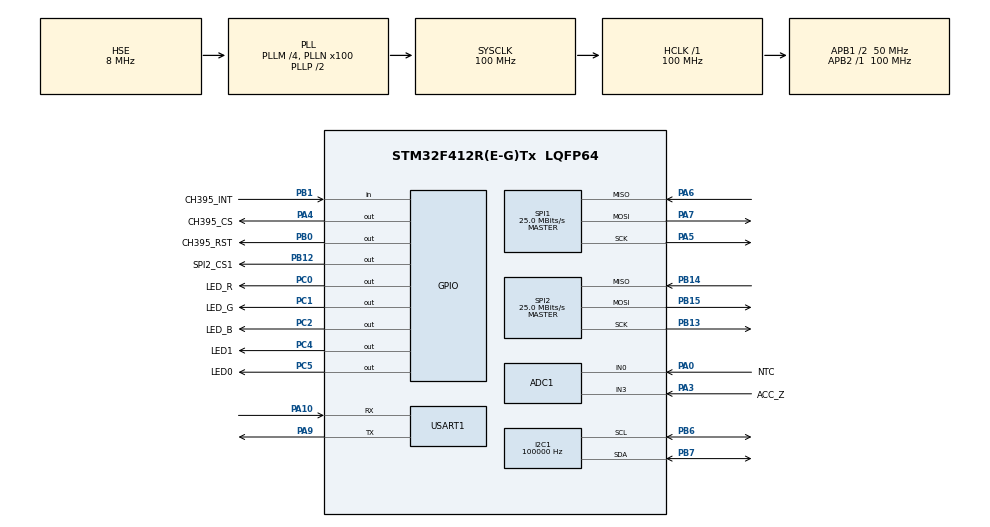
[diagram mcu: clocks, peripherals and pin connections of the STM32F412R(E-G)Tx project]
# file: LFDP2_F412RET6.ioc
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ADC1.Channel-0\#ChannelRegularConversion=ADC_CHANNEL_0
ADC1.Channel-1\#ChannelRegularConversion=ADC_CHANNEL_3
ADC1.ClockPrescaler=ADC_CLOCK_SYNC_PCLK_DIV8
ADC1.ContinuousConvMode=ENABLE
ADC1.DMAContinuousRequests=ENABLE
ADC1.EOCSelection=ADC_EOC_SEQ_CONV
ADC1.InjNumberOfConversion=0
ADC1.NbrOfConversion=2
ADC1.NbrOfConversionFlag=1
ADC1.Rank-0\#ChannelRegularConversion=1
ADC1.Rank-1\#ChannelRegularConversion=2
ADC1.SamplingTime-0\#ChannelRegularConversion=ADC_SAMPLETIME_480CYCLES
ADC1.SamplingTime-1\#ChannelRegularConversion=ADC_SAMPLETIME_480CYCLES
ADC1.ScanConvMode=ENABLE
ADC1.master=1
Dma.ADC1.2.Direction=DMA_PERIPH_TO_MEMORY
Dma.ADC1.2.FIFOMode=DMA_FIFOMODE_DISABLE
Dma.ADC1.2.Instance=DMA2_Stream0
Dma.ADC1.2.MemDataAlignment=DMA_MDATAALIGN_HALFWORD
Dma.ADC1.2.MemInc=DMA_MINC_ENABLE
Dma.ADC1.2.Mode=DMA_CIRCULAR
Dma.ADC1.2.PeriphDataAlignment=DMA_PDATAALIGN_HALFWORD
Dma.ADC1.2.PeriphInc=DMA_PINC_DISABLE
Dma.ADC1.2.Priority=DMA_PRIORITY_LOW
Dma.I2C1_RX.0.Direction=DMA_PERIPH_TO_MEMORY
Dma.I2C1_RX.0.FIFOMode=DMA_FIFOMODE_DISABLE
Dma.I2C1_RX.0.Instance=DMA1_Stream0
Dma.I2C1_RX.0.MemDataAlignment=DMA_MDATAALIGN_BYTE
Dma.I2C1_RX.0.MemInc=DMA_MINC_ENABLE
Dma.I2C1_RX.0.Mode=DMA_NORMAL
Dma.I2C1_RX.0.PeriphDataAlignment=DMA_PDATAALIGN_BYTE
Dma.I2C1_RX.0.PeriphInc=DMA_PINC_DISABLE
Dma.I2C1_RX.0.Priority=DMA_PRIORITY_VERY_HIGH
Dma.I2C1_TX.1.Direction=DMA_MEMORY_TO_PERIPH
Dma.I2C1_TX.1.FIFOMode=DMA_FIFOMODE_DISABLE
Dma.I2C1_TX.1.Instance=DMA1_Stream1
Dma.I2C1_TX.1.MemDataAlignment=DMA_MDATAALIGN_BYTE
Dma.I2C1_TX.1.MemInc=DMA_MINC_ENABLE
Dma.I2C1_TX.1.Mode=DMA_NORMAL
Dma.I2C1_TX.1.PeriphDataAlignment=DMA_PDATAALIGN_BYTE
Dma.I2C1_TX.1.PeriphInc=DMA_PINC_DISABLE
Dma.I2C1_TX.1.Priority=DMA_PRIORITY_VERY_HIGH
Dma.Request0=I2C1_RX
Dma.Request1=I2C1_TX
Dma.Request2=ADC1
I2C1.ClockSpeed=100000
I2C1.I2C_Mode=I2C_Fast
IWDG.Prescaler=IWDG_PRESCALER_64
Mcu.Family=STM32F4
Mcu.Name=STM32F412R(E-G)Tx
Mcu.Package=LQFP64
NVIC.DMA1_Stream0_IRQn=true\:0\:0\:false\:false\:true\:false\:true\:true
NVIC.DMA1_Stream1_IRQn=true\:0\:0\:false\:false\:true\:false\:true\:true
NVIC.DMA2_Stream0_IRQn=true\:0\:0\:true\:false\:true\:false\:true\:true
NVIC.PriorityGroup=NVIC_PRIORITYGROUP_4
NVIC.TIM6_IRQn=true\:1\:0\:true\:false\:true\:true\:true\:true
PA0.GPIO_Label=NTC
PA0.Signal=ADCx_IN0
PA10.Mode=Asynchronous
PA10.Signal=USART1_RX
PA13.Mode=Serial_Wire
PA13.Signal=SYS_JTMS-SWDIO
PA14.Mode=Serial_Wire
PA14.Signal=SYS_JTCK-SWCLK
PA3.GPIO_Label=ACC_Z
PA3.Signal=ADCx_IN3
PA4.GPIO_Label=CH395_CS
PA4.GPIO_Speed=GPIO_SPEED_FREQ_MEDIUM
PA4.Signal=GPIO_Output
PA5.Mode=Full_Duplex_Master
PA5.Signal=SPI1_SCK
PA6.Mode=Full_Duplex_Master
PA6.Signal=SPI1_MISO
PA7.Mode=Full_Duplex_Master
PA7.Signal=SPI1_MOSI
PA9.Mode=Asynchronous
PA9.Signal=USART1_TX
PB0.GPIO_Label=CH395_RST
PB0.GPIO_PuPd=GPIO_PULLUP
PB0.GPIO_Speed=GPIO_SPEED_FREQ_HIGH
PB0.Signal=GPIO_Output
PB1.GPIO_Label=CH395_INT
PB1.GPIO_PuPd=GPIO_PULLUP
PB1.Signal=GPIO_Input
PB12.GPIO_Label=SPI2_CS1
PB12.Signal=GPIO_Output
PB13.Mode=Full_Duplex_Master
PB13.Signal=SPI2_SCK
PB14.Mode=Full_Duplex_Master
PB14.Signal=SPI2_MISO
PB15.Mode=Full_Duplex_Master
PB15.Signal=SPI2_MOSI
PB6.Mode=I2C
PB6.Signal=I2C1_SCL
PB7.Mode=I2C
PB7.Signal=I2C1_SDA
PC0.GPIO_Label=LED_R
PC0.GPIO_PuPd=GPIO_NOPULL
PC0.PinState=GPIO_PIN_SET
PC0.Signal=GPIO_Output
PC1.GPIO_Label=LED_G
PC1.GPIO_PuPd=GPIO_NOPULL
PC1.PinState=GPIO_PIN_SET
PC1.Signal=GPIO_Output
PC2.GPIO_Label=LED_B
PC2.GPIO_PuPd=GPIO_NOPULL
PC2.PinState=GPIO_PIN_SET
PC2.Signal=GPIO_Output
PC4.GPIO_Label=LED1
PC4.PinState=GPIO_PIN_SET
PC4.Signal=GPIO_Output
PC5.GPIO_Label=LED0
PC5.PinState=GPIO_PIN_SET
PC5.Signal=GPIO_Output
PH0\ -\ OSC_IN.Mode=HSE-External-Oscillator
PH0\ -\ OSC_IN.Signal=RCC_OSC_IN
PH1\ -\ OSC_OUT.Mode=HSE-External-Oscillator
PH1\ -\ OSC_OUT.Signal=RCC_OSC_OUT
ProjectManager.HeapSize=0x200
ProjectManager.StackSize=0x400
ProjectManager.TargetToolchain=STM32CubeIDE
RCC.AHBFreq_Value=100000000
RCC.APB1CLKDivider=RCC_HCLK_DIV2
RCC.APB1Freq_Value=50000000
RCC.APB1TimFreq_Value=100000000
RCC.APB2Freq_Value=100000000
RCC.APB2TimFreq_Value=100000000
RCC.CortexFreq_Value=100000000
RCC.HCLKFreq_Value=100000000
RCC.HSE_VALUE=8000000
RCC.PLLM=4
RCC.PLLN=100
RCC.PLLSourceVirtual=RCC_PLLSOURCE_HSE
RCC.SYSCLKFreq_VALUE=100000000
RCC.SYSCLKSource=RCC_SYSCLKSOURCE_PLLCLK
RCC.USBFreq_Value=100000000
RCC.VCOOutputFreq_Value=200000000
SH.ADCx_IN0.0=ADC1_IN0,IN0
SH.ADCx_IN3.0=ADC1_IN3,IN3
SPI1.BaudRatePrescaler=SPI_BAUDRATEPRESCALER_4
SPI1.CLKPhase=SPI_PHASE_2EDGE
SPI1.CLKPolarity=SPI_POLARITY_HIGH
SPI1.CalculateBaudRate=25.0 MBits/s
SPI1.Direction=SPI_DIRECTION_2LINES
SPI1.Mode=SPI_MODE_MASTER
SPI1.VirtualType=VM_MASTER
SPI2.CLKPhase=SPI_PHASE_2EDGE
SPI2.CLKPolarity=SPI_POLARITY_HIGH
SPI2.CalculateBaudRate=25.0 MBits/s
SPI2.Direction=SPI_DIRECTION_2LINES
SPI2.Mode=SPI_MODE_MASTER
SPI2.VirtualType=VM_MASTER
TIM6.Period=100-1
TIM6.Prescaler=200-1
USART1.VirtualMode=VM_ASYNC
VP_IWDG_VS_IWDG.Mode=IWDG_Activate
VP_TIM6_VS_ClockSourceINT.Mode=Enable_Timer
board=custom

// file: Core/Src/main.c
/* USER CODE BEGIN Header */
/**
  ******************************************************************************
  * @file           : main.c
  * @brief          : Main program body
  ******************************************************************************
  * @attention
  *
  * Copyright (c) 2023 STMicroelectronics.
  * All rights reserved.
  *
  * This software is licensed under terms that can be found in the LICENSE file
  * in the root directory of this software component.
  * If no LICENSE file comes with this software, it is provided AS-IS.
  *
  ******************************************************************************
  */
/* USER CODE END Header */
#include "main.h"
#include "adc.h"
#include "dma.h"
#include "i2c.h"
#include "iwdg.h"
#include "spi.h"
#include "tim.h"
#include "usart.h"
#include "gpio.h"

/* USER CODE BEGIN Includes */

#include "stdio.h"
#include "string.h"
#include "lis2dh12.h"
#include "w25qxx.h"
#include "ch395.h"
#include "ntc.h"
#include "misc.h"

/* USER CODE END Includes */

/* USER CODE BEGIN PV */

#define erase_flag	0	// 用于测试，判断是否擦除flash的sn：0：烧录模式；1：擦除模式

uint8_t device_type;	// 用于标识设备类型：0：开发板；1：第二代传感器

uint16_t adc_buf[2];
float accz_g, ntc;
float Sen_1 = 0.026;
float com_value = 1.65;

uint8_t IIC_State = 0;
int8_t acc_all[6];
float accx_g, accy_g;
float Sen_3 = 0.032;

/* 本地网络信息：IP地址、网关地址、子网掩码和MAC地址 */
uint8_t ch395_ipaddr[4]     = {192,168,2,205};
uint8_t ch395_gw_ipaddr[4]  = {192,168,2,1};
uint8_t ch395_ipmask[4]     = {255,255,255,0};
uint8_t ch395_macaddr[6]    = {0xA5,0xB5,0xC5,0x00,0x00,0x00};

/* 远程IP地址设置 */
//uint8_t ch395_des_ipaddr[4] = {116,57,98,230};	// alphamini ip
//uint16_t ch395_des_port = 8888;					// alphamini port
//uint8_t ch395_des_ipaddr[4] = {81,71,132,174};		// piremote ip
//uint16_t ch395_des_port = 14494;					// piremote port
//uint8_t ch395_des_ipaddr[4] = {116,57,98,20};		// wgx ip
//uint16_t ch395_des_port = 8080;						// wgx port
//uint8_t ch395_des_ipaddr[4] = {192,168,10,101};		// schoolpi ip
//uint16_t ch395_des_port = 1234;						// schoolpi port
uint8_t ch395_des_ipaddr[4] = {192,168,2,161};	// notebook ip
uint16_t ch395_des_port = 8080;					// notebook port

static uint8_t socket0_send_buf[7000];
static uint8_t socket0_recv_buf[1024];
ch395_socket cha95_sockct_sta[8];

uint16_t data_frequency = 5000;
uint8_t adc_switch = 1;
uint8_t iic_switch = 1;
uint16_t acc_num = 0;
int16_t pre_accx = 0;
int16_t pre_accy = 0;
int16_t adc_accz_buf_1[1000] = {0};
int16_t adc_accz_buf_2[1000] = {0};
int16_t iic_accx_buf_1[1000] = {0};
int16_t iic_accx_buf_2[1000] = {0};
int16_t iic_accy_buf_1[1000] = {0};
int16_t iic_accy_buf_2[1000] = {0};
char DFH[7] = "dd0101";		// 数据帧头（Data frame header）
char DFF[4] = "end";		// 数据帧尾（Data frame footer）
uint8_t rtim[17];
uint32_t rtime_head_8;
uint32_t rtime_foot_8;

uint8_t ch395_udp_ip[4] = {255,255,255,255};	/* 设置为 UDP 全网段广播地址 */
uint8_t ch395_tcp_ip[4];					/* 设置为 TCP 固定目标地址 */

// 序列号sn烧录相关变量
uint32_t flash_size = 16 * 1024 * 1024;
uint8_t ch395_sn[15] = {"VSX00000000000"};
uint8_t none_sn[15] = {"NNNNNNNNNNNNNN"};
uint8_t socket0_send_buf_udp_sn[] = {"sensor is requesting sn"};				/* UDP 广播消息（序列号） */
uint8_t socket0_send_buf_success_sn[] = {"sn successfully initialized"};		/* 序列号成功接收反馈 */\
uint8_t sn_flag;		// 用于标志Flash固定地址有无sn
uint8_t work_mode;		// 序列号烧录当前的工作模式和阶段

/* USER CODE END PV */

void SystemClock_Config(void);
/* USER CODE BEGIN PFP */

// 用于串口 1 输出传感器当前的运行阶段
void uart1_show_mesg(uint8_t stage)
{
	switch(stage)
	{
		case 0:
			/* 目前处于 UDP 广播阶段（序列号） */
			printf("\n");
			printf("********************************\r\n");
			printf("UDP BroadCast for SN\r\n");
			printf("********************************\r\n");
			printf("\r\n");
			break;
		case 1:
			/* 目前处于 TCP 客户端阶段（序列号上位机） */
			printf("\n");
			printf("********************************\r\n");
			printf("TCP Client for SN\r\n");
			printf("********************************\r\n");
			printf("\r\n");
			break;
		case 2:
			/* 目前处于传感器 TCP 工作阶段 */
			printf("\n");
			printf("********************************\r\n");
			printf("Working Mode MQTT\r\n");
			printf("********************************\r\n");
			printf("\r\n");
			break;
		default:
			break;
	}
}

// 配置为 UDP 客户端全网段广播模式
void ch395_udp_broadcast()
{
	ch395_hardware_init();	/* ch395初始化 */

	do {
		if(device_type == 0) HAL_IWDG_Refresh(&hiwdg);	// 当设备是开发板时，此处需要喂狗，因为开发板由于未知原因，DHCP异常缓慢，容易导致看门狗复位
		ch395q_handler();
    } while (g_ch395q_sta.dhcp_status == DHCP_STA);                                                                       /* 获取DHCP */

    cha95_sockct_sta[0].socket_enable = CH395Q_ENABLE;                                                                  /* 使能socket对 */
    cha95_sockct_sta[0].socket_index = CH395Q_SOCKET_0;                                                                 /* 设置socket对 */
    memcpy(cha95_sockct_sta[0].des_ip, ch395_udp_ip, sizeof(cha95_sockct_sta[0].des_ip));                               /* 设置目标IP地址 */
    memcpy(cha95_sockct_sta[0].net_config.ipaddr, ch395_ipaddr, sizeof(cha95_sockct_sta[0].net_config.ipaddr));         /* 设置静态本地IP地址 */
    memcpy(cha95_sockct_sta[0].net_config.gwipaddr, ch395_gw_ipaddr, sizeof(cha95_sockct_sta[0].net_config.gwipaddr));  /* 设置静态网关IP地址 */
    memcpy(cha95_sockct_sta[0].net_config.maskaddr, ch395_ipmask, sizeof(cha95_sockct_sta[0].net_config.maskaddr));     /* 设置静态子网掩码地址 */
    memcpy(cha95_sockct_sta[0].net_config.macaddr, ch395_macaddr, sizeof(cha95_sockct_sta[0].net_config.macaddr));      /* 设置静态MAC地址 */
    cha95_sockct_sta[0].des_port = 8888;                                                                                /* 目标端口 */
    cha95_sockct_sta[0].sour_port = 8888;                                                                               /* 源端口 */
    cha95_sockct_sta[0].proto = CH395Q_SOCKET_UDP;                                                                      /* 设置协议 */
    cha95_sockct_sta[0].send.buf = socket0_send_buf;                                                                    /* 发送数据 */
    cha95_sockct_sta[0].send.size = sizeof(socket0_send_buf);                                                           /* 发送数据大小 */
    cha95_sockct_sta[0].recv.buf =  socket0_recv_buf;                                                                   /* 接收数据缓冲区 */
    cha95_sockct_sta[0].recv.size = sizeof(socket0_recv_buf);                                                           /* 接收数据大小 */
    ch395q_socket_config(&cha95_sockct_sta[0]);                                                                         /* 配置socket参数 */
}

// 配置为 TCP 客户端烧录模式
void ch395_tcp_client()
{
	ch395_hardware_init();	/* ch395初始化 */

	do {
		if(device_type == 0) HAL_IWDG_Refresh(&hiwdg);	// 当设备是开发板时，此处需要喂狗，因为开发板由于未知原因，DHCP异常缓慢，容易导致看门狗复位
        ch395q_handler();
    } while (g_ch395q_sta.dhcp_status == DHCP_STA);                                                                       /* 获取DHCP */

    cha95_sockct_sta[0].socket_enable = CH395Q_ENABLE;                                                                  /* 使能socket对 */
    cha95_sockct_sta[0].socket_index = CH395Q_SOCKET_0;                                                                 /* 设置socket对 */
    memcpy(cha95_sockct_sta[0].des_ip, ch395_tcp_ip, sizeof(cha95_sockct_sta[0].des_ip));                               /* 设置目标IP地址 */
    memcpy(cha95_sockct_sta[0].net_config.ipaddr, ch395_ipaddr, sizeof(cha95_sockct_sta[0].net_config.ipaddr));         /* 设置静态本地IP地址 */
    memcpy(cha95_sockct_sta[0].net_config.gwipaddr, ch395_gw_ipaddr, sizeof(cha95_sockct_sta[0].net_config.gwipaddr));  /* 设置静态网关IP地址 */
    memcpy(cha95_sockct_sta[0].net_config.maskaddr, ch395_ipmask, sizeof(cha95_sockct_sta[0].net_config.maskaddr));     /* 设置静态子网掩码地址 */
    memcpy(cha95_sockct_sta[0].net_config.macaddr, ch395_macaddr, sizeof(cha95_sockct_sta[0].net_config.macaddr));      /* 设置静态MAC地址 */
    cha95_sockct_sta[0].des_port = 8899;                                                                                /* 目标端口 */
    cha95_sockct_sta[0].sour_port = 8899;                                                                               /* 源端口 */
    cha95_sockct_sta[0].proto = CH395Q_SOCKET_TCP_CLIENT;                                                               /* 设置协议 */
    cha95_sockct_sta[0].send.buf = socket0_send_buf;                                                                    /* 发送数据 */
    cha95_sockct_sta[0].send.size = sizeof(socket0_send_buf);                                                           /* 发送数据大小 */
    cha95_sockct_sta[0].recv.buf =  socket0_recv_buf;                                                                   /* 接收数据缓冲区 */
    cha95_sockct_sta[0].recv.size = sizeof(socket0_recv_buf);                                                           /* 接收数据大小 */
    ch395q_socket_config(&cha95_sockct_sta[0]);                                                                         /* 配置socket参数 */
}

// 配置为 TCP 客户端工作模式
void ch395_tcp_work()
{
	printf("ch395_des_ipaddr: %d.%d.%d.%d\r\n", ch395_des_ipaddr[0], ch395_des_ipaddr[1], ch395_des_ipaddr[2], ch395_des_ipaddr[3]);
	printf("ch395_des_port:   %d\r\n", ch395_des_port);

	ch395_hardware_init();
	do {
	  if(device_type == 0) HAL_IWDG_Refresh(&hiwdg);	// 当设备是开发板时，此处需要喂狗，因为开发板由于未知原因，DHCP异常缓慢，容易导致看门狗复位
	  ch395q_handler();
	} while(g_ch395q_sta.dhcp_status == DHCP_STA);                                                                       /* 获取DHCP */

	cha95_sockct_sta[0].socket_enable = CH395Q_ENABLE;                                                                  /* 使能socket对 */
	cha95_sockct_sta[0].socket_index = CH395Q_SOCKET_0;                                                                 /* 设置socket对 */
	memcpy(cha95_sockct_sta[0].des_ip, ch395_des_ipaddr, sizeof(cha95_sockct_sta[0].des_ip));                           /* 设置目标IP地址 */
	memcpy(cha95_sockct_sta[0].net_config.ipaddr, ch395_ipaddr, sizeof(cha95_sockct_sta[0].net_config.ipaddr));         /* 设置静态本地IP地址 */
	memcpy(cha95_sockct_sta[0].net_config.gwipaddr, ch395_gw_ipaddr, sizeof(cha95_sockct_sta[0].net_config.gwipaddr));  /* 设置静态网关IP地址 */
	memcpy(cha95_sockct_sta[0].net_config.maskaddr, ch395_ipmask, sizeof(cha95_sockct_sta[0].net_config.maskaddr));     /* 设置静态子网掩码地址 */
	memcpy(cha95_sockct_sta[0].net_config.macaddr, ch395_macaddr, sizeof(cha95_sockct_sta[0].net_config.macaddr));      /* 设置静态MAC地址 */
	cha95_sockct_sta[0].des_port = ch395_des_port;                                                                      /* 目标端口 */
	cha95_sockct_sta[0].sour_port = 8080;                                                                               /* 源端口 */
	cha95_sockct_sta[0].proto = CH395Q_SOCKET_TCP_CLIENT;                                                               /* 设置协议 */
	cha95_sockct_sta[0].send.buf = socket0_send_buf;                                                                    /* 发送数据 */
	cha95_sockct_sta[0].send.size = sizeof(socket0_send_buf);                                                           /* 发送数据大小 */
	cha95_sockct_sta[0].recv.buf =  socket0_recv_buf;                                                                   /* 接收数据缓冲区 */
	cha95_sockct_sta[0].recv.size = sizeof(socket0_recv_buf);                                                           /* 接收数据大小 */
	ch395q_socket_config(&cha95_sockct_sta[0]);                                                                         /* 配置socket参数 */

	if(g_ch395q_sta.dhcp_status == DHCP_DOWN) {
	  printf("ch395_ipaddr:     %d.%d.%d.%d\r\n", ch395_ipaddr[0], ch395_ipaddr[1], ch395_ipaddr[2], ch395_ipaddr[3]);
	  printf("ch395_gw_ipaddr:  %d.%d.%d.%d\r\n", ch395_gw_ipaddr[0], ch395_gw_ipaddr[1], ch395_gw_ipaddr[2], ch395_gw_ipaddr[3]);
	  printf("ch395_ipmask:     %d.%d.%d.%d\r\n", ch395_ipmask[0], ch395_ipmask[1], ch395_ipmask[2], ch395_ipmask[3]);
	  printf("ch395_macaddr:    %02x %02x %02x %02x %02x %02x\r\n", ch395_macaddr[0], ch395_macaddr[1], ch395_macaddr[2],
																   ch395_macaddr[3], ch395_macaddr[4], ch395_macaddr[5]);
	}
	printf("ch395_sn:         %s\r\n", ch395_sn);

	sprintf(socket0_send_buf, "request %s", ch395_sn);
	uint8_t *isFound;
	do {
	  printf("rtim requesting...\r\n");
	  ch395_send_data(0, (uint8_t *)socket0_send_buf, strlen((char *)socket0_send_buf));
	  HAL_Delay(1000);
	  ch395q_handler();
	  isFound = strstr(socket0_recv_buf, "rtim");
	} while(isFound == NULL);
	memcpy(rtim, isFound + 4, 16);
	printf("rtim:[%s]\r\n", rtim);
	sscanf(rtim, "%8d%8d", &rtime_head_8, &rtime_foot_8);
}

/* USER CODE END PFP */

/* USER CODE BEGIN 0 */

void HAL_TIM_PeriodElapsedCallback(TIM_HandleTypeDef *htim)
{
	if(htim == &htim6)
	{
		int16_t *dataptr_x;
		int16_t *dataptr_y;

		if(iic_switch == 1) {
			dataptr_x = iic_accx_buf_1;
			dataptr_y = iic_accy_buf_1;
		}
		else if(iic_switch == 2) {
			dataptr_x = iic_accx_buf_2;
			dataptr_y = iic_accy_buf_2;
		}
		if(IIC_State == 1) {
			*(dataptr_x + acc_num) = acc_all[1];
			*(dataptr_y + acc_num) = acc_all[3];

			pre_accx = acc_all[1];
			pre_accy = acc_all[3];

			IIC_State = 0;
			LIS2DH12_ReadAccall(&hi2c1, acc_all);
		}
		else {
			*(dataptr_x + acc_num) = pre_accx;
			*(dataptr_y + acc_num) = pre_accy;
		}

		int16_t *dataptr_z;

		if(adc_switch == 1) {
			dataptr_z = adc_accz_buf_1;
		}
		else if(adc_switch == 2) {
			dataptr_z = adc_accz_buf_2;
		}
		*(dataptr_z + acc_num) = adc_buf[1];

		acc_num++;
	}
}

/* USER CODE END 0 */

int main(void)
{

  /* MCU Configuration--------------------------------------------------------*/

  /* Reset of all peripherals, Initializes the Flash interface and the Systick. */
  HAL_Init();

  /* Configure the system clock */
  SystemClock_Config();

  /* Initialize all configured peripherals */
  MX_GPIO_Init();
  MX_DMA_Init();
  MX_USART1_UART_Init();
  MX_I2C1_Init();
  MX_SPI2_Init();
  MX_SPI1_Init();
  MX_ADC1_Init();
  MX_TIM6_Init();
  MX_IWDG_Init();
  /* USER CODE BEGIN 2 */

  // Flash Init
  W25QXX_Init();
  while(W25QXX_ReadID() != W25Q128 && W25QXX_ReadID() != W25Q64) {
	  printf("Flash Error!!\r\n");
	  HAL_GPIO_WritePin(LED0_GPIO_Port, LED0_Pin, GPIO_PIN_SET);
	  HAL_Delay(500);
	  HAL_GPIO_WritePin(LED0_GPIO_Port, LED0_Pin, GPIO_PIN_RESET);
	  HAL_Delay(500);
  }
  if(W25QXX_ReadID() == W25Q128) {
	  device_type = 1;
	  printf("This is Sensor2.0   device_type: 1\r\n");
  }
  else if(W25QXX_ReadID() == W25Q64) {
	  device_type = 0;
	  printf("This is Development board   device_type: 0\r\n");
  }

  // 使能spi1
  __HAL_SPI_ENABLE(&hspi1);
  spi1_read_write_byte(0Xff);		// 启动传输, 实际上就是产生8个时钟脉冲, 达到清空DR的作用, 非必需

  // ADC Init (ADXL1002 + NTC)
  HAL_ADC_Start_DMA(&hadc1, (uint32_t*)adc_buf, (uint32_t)2);

  // Lis2dh12 Init (IIC + DMA)
  LIS2DH12_ReadAcc_Init(&hi2c1);
  LIS2DH12_ReadAccall(&hi2c1, acc_all);
  HAL_Delay(10);

  // Sensor Correct
  if(device_type == 1) Com_Value_Init_DMA();	// 当设备是传感器时，需要进行单轴矫正

  // Erase mode
  while(erase_flag) {
	  W25QXX_Write(none_sn, 100, 14);
	  printf("sn erase mode!!\r\n");
	  HAL_Delay(1000);
  }

  // 判断序列号的Flash存储位置是否有内容
  W25QXX_Read(&sn_flag, 100, 1);
  if(sn_flag != 'V') {
	  uart1_show_mesg(0);
	  ch395_udp_broadcast();

	  // 发送 UDP 广播，直到收到上位机反馈的包含主机 IP 的消息
	  do {
		  ch395_send_data(0, (uint8_t *)socket0_send_buf_udp_sn, strlen((char *)socket0_send_buf_udp_sn));
		  HAL_Delay(100);
		  ch395q_handler();

		  HAL_Delay(1000);
		  for(int i = 0; i < 30; i++) {
			  printf("%d ", socket0_recv_buf[i]);
		  }
		  printf("\r\n");
		  for(int i = 0; i < 30; i++) {
			  printf("%c ", socket0_recv_buf[i]);
		  }
		  printf("\r\n");
		  printf("\r\n----------------------------\r\n\r\n");
	  } while(socket0_recv_buf[0] == 0);

	  // 从上位机反馈的消息中，取出主机 IP
	  for(uint8_t i = 0; i < 4; i++) {
		  ch395_tcp_ip[i] = socket0_recv_buf[i + 4];
	  }

	  uart1_show_mesg(1);
	  ch395_tcp_client();

	  work_mode = 1;
  }
  else {
	  W25QXX_Read(ch395_sn, 100, 14);
	  uart1_show_mesg(2);
	  ch395_tcp_work();

	  work_mode = 0;

	  // TIM6 Tnit
	  HAL_TIM_Base_Start_IT(&htim6);
	  HAL_Delay(10);
  }

  /* USER CODE END 2 */

  /* Infinite loop */
  /* USER CODE BEGIN WHILE */
  while (1)
  {
	  if(work_mode == 1) {
		  ch395q_handler();
		  HAL_Delay(100);

		  uint8_t *isFound;
		  isFound = strstr(socket0_recv_buf, "VS");
		  if(isFound != NULL) {
			  memcpy(ch395_sn, isFound, 14);
			  ch395_sn[14] = '\0';
			  W25QXX_Write(ch395_sn, 100, 14);
		  }

		  HAL_Delay(1000);
		  for(int i = 0; i < 14; i++) {
			  printf("%d ", socket0_recv_buf[i]);
		  }
		  printf("\r\n");
		  for(int i = 0; i < 14; i++) {
			  printf("%c ", socket0_recv_buf[i]);
		  }
		  printf("\r\n");
		  printf("sn:");
		  for(int i = 0; i < 14; i++) {
			  printf("%c", ch395_sn[i]);
		  }
		  printf("\r\n\r\n----------------------------\r\n\r\n");

		  static uint8_t num_sn = 1;
		  W25QXX_Read(&sn_flag, 100, 1);
		  if(sn_flag == 'V' && num_sn) {
			  ch395_send_data(0, (uint8_t *)socket0_send_buf_success_sn, strlen((char *)socket0_send_buf_success_sn));
			  num_sn = 0;
		  }

		  HAL_IWDG_Refresh(&hiwdg);
	  }
	  else if(work_mode == 0) {
		  static uint16_t cumulative_num = 0;
		  char *ptr = socket0_send_buf;
		  int16_t *dataptr_z;
		  int16_t *dataptr_x;
		  int16_t *dataptr_y;

		  uint8_t old_adc_switch = adc_switch;
		  uint8_t old_iic_switch = iic_switch;
		  uint16_t old_acc_num = acc_num;

		  (adc_switch == 1)?(adc_switch = 2):(adc_switch = 1);
		  (iic_switch == 1)?(iic_switch = 2):(iic_switch = 1);

		  acc_num = 0;

		  if(old_adc_switch == 1) { dataptr_z = &adc_accz_buf_1[0]; }
		  else if(old_adc_switch == 2) { dataptr_z = &adc_accz_buf_2[0]; }
		  if(old_iic_switch == 1) { dataptr_x = &iic_accx_buf_1[0]; dataptr_y = &iic_accy_buf_1[0]; }
		  else if(old_iic_switch == 2) { dataptr_x = &iic_accx_buf_2[0]; dataptr_y = &iic_accy_buf_2[0]; }

		  cumulative_num += old_acc_num;
		  printf("%d  %08d%08d\r\n", old_acc_num, rtime_head_8, rtime_foot_8);
		  static float test_x, test_y, test_z;
		  if(cumulative_num >= data_frequency) {
			  printf("\r\n");
			  printf(">>> frequency:[%d], cumulative_num:[%d], old_acc_num:[%d], ntc:[%05.1f], rtime:[%08d%08d], ",
						  data_frequency, cumulative_num, old_acc_num, ntc, rtime_head_8, rtime_foot_8);
			  printf("    accx:[%.4f], accy:[%.4f], accz:[%.4f]\r\n", test_x, test_y, test_z);
			  cumulative_num = 0;
			  printf("\r\n");
		  }

		  sprintf(ptr, "%s", DFH);

		  sprintf(ptr + 6, "{%08d%08d}", rtime_head_8, rtime_foot_8);
		  rtime_calculate(old_acc_num);

		  ntc = Get_Kelvin_Temperature(adc_buf[0]);
		  if(ntc > 999 || ntc < 0) ntc = 999.9;
		  sprintf(ptr + 6 + 18, "{%05.1f}", ntc);

		  sprintf(ptr + 6 + 18 + 7, "|");

		  for(uint16_t i = 0; i < old_acc_num; i++) {
			  float data_z = (*(dataptr_z + i) * (3.3 / 4096) - com_value) / Sen_1;
			  float data_x = *(dataptr_x + i) * Sen_3;
			  float data_y = *(dataptr_y + i) * Sen_3;
			  test_z = data_z;
			  test_x = data_x;
			  test_y = data_y;
			  if(device_type == 0) {data_z = 65.65; data_x = 66.66; data_y = 67.67;}	// 当设备是开发板时，需要生成伪数据进行发送
			  sprintf((ptr + 6 + 18 + 7 + 1 + i * 7), "%c%c%c%c%c%c|", int_separate(data_z), dec_separate(data_z),
																	   int_separate(data_x), dec_separate(data_x),
																	   int_separate(data_y), dec_separate(data_y));
		  }

		  sprintf(ptr + 6 + 18 + 7 + 1 + old_acc_num * 7, "%s", DFF);

		  sprintf(ptr + 6 + 18 + 7 + 1 + old_acc_num * 7 + 3, "\0");

		  ch395_send_data(0, (uint8_t *)socket0_send_buf, strlen((char *)socket0_send_buf));

		  ch395q_handler();
	  }

    /* USER CODE END WHILE */

  }
}

void SystemClock_Config(void)
{
  RCC_OscInitTypeDef RCC_OscInitStruct = {0};
  RCC_ClkInitTypeDef RCC_ClkInitStruct = {0};

  /** Configure the main internal regulator output voltage
  */
  __HAL_RCC_PWR_CLK_ENABLE();
  __HAL_PWR_VOLTAGESCALING_CONFIG(PWR_REGULATOR_VOLTAGE_SCALE1);

  /** Initializes the RCC Oscillators according to the specified parameters
  * in the RCC_OscInitTypeDef structure.
  */
  RCC_OscInitStruct.OscillatorType = RCC_OSCILLATORTYPE_LSI|RCC_OSCILLATORTYPE_HSE;
  RCC_OscInitStruct.HSEState = RCC_HSE_ON;
  RCC_OscInitStruct.LSIState = RCC_LSI_ON;
  RCC_OscInitStruct.PLL.PLLState = RCC_PLL_ON;
  RCC_OscInitStruct.PLL.PLLSource = RCC_PLLSOURCE_HSE;
  RCC_OscInitStruct.PLL.PLLM = 4;
  RCC_OscInitStruct.PLL.PLLN = 100;
  RCC_OscInitStruct.PLL.PLLP = RCC_PLLP_DIV2;
  RCC_OscInitStruct.PLL.PLLQ = 2;
  RCC_OscInitStruct.PLL.PLLR = 2;
  if (HAL_RCC_OscConfig(&RCC_OscInitStruct) != HAL_OK)
  {
    Error_Handler();
  }

  /** Initializes the CPU, AHB and APB buses clocks
  */
  RCC_ClkInitStruct.ClockType = RCC_CLOCKTYPE_HCLK|RCC_CLOCKTYPE_SYSCLK
                              |RCC_CLOCKTYPE_PCLK1|RCC_CLOCKTYPE_PCLK2;
  RCC_ClkInitStruct.SYSCLKSource = RCC_SYSCLKSOURCE_PLLCLK;
  RCC_ClkInitStruct.AHBCLKDivider = RCC_SYSCLK_DIV1;
  RCC_ClkInitStruct.APB1CLKDivider = RCC_HCLK_DIV2;
  RCC_ClkInitStruct.APB2CLKDivider = RCC_HCLK_DIV1;

  if (HAL_RCC_ClockConfig(&RCC_ClkInitStruct, FLASH_LATENCY_3) != HAL_OK)
  {
    Error_Handler();
  }
}

/* USER CODE BEGIN 4 */
void delay_us(uint32_t udelay)
{
	uint32_t startval, tickn, delays, wait;

	startval = SysTick->VAL;
	tickn = HAL_GetTick();
//	sysc = 100000;  //SystemCoreClock / (1000U / uwTickFreq);
	delays = udelay * 100; //sysc / 1000 * udelay;
	if(delays > startval)
	{
		while(HAL_GetTick() == tickn)
		{

		}
		wait = 100000 + startval - delays;
		while(wait < SysTick->VAL)
		{

		}
	}
	else
	{
		wait = startval - delays;
		while(wait < SysTick->VAL && HAL_GetTick() == tickn)
		{

		}
	}
}
/* USER CODE END 4 */

void Error_Handler(void)
{
  __disable_irq();
  while (1)
  {
  }
}
